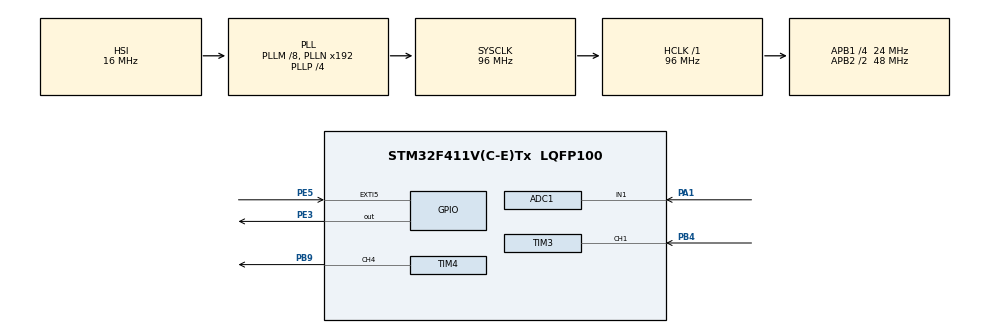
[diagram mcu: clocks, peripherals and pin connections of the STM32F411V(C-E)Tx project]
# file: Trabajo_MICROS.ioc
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ADC1.Channel-1\#ChannelRegularConversion=ADC_CHANNEL_1
ADC1.ContinuousConvMode=DISABLE
ADC1.DMAContinuousRequests=ENABLE
ADC1.InjNumberOfConversion=0
ADC1.NbrOfConversion=1
ADC1.NbrOfConversionFlag=1
ADC1.Rank-1\#ChannelRegularConversion=1
ADC1.Resolution=ADC_RESOLUTION_8B
ADC1.SamplingTime-1\#ChannelRegularConversion=ADC_SAMPLETIME_480CYCLES
ADC1.ScanConvMode=DISABLE
ADC1.master=1
Dma.ADC1.0.Direction=DMA_PERIPH_TO_MEMORY
Dma.ADC1.0.FIFOMode=DMA_FIFOMODE_DISABLE
Dma.ADC1.0.Instance=DMA2_Stream0
Dma.ADC1.0.MemDataAlignment=DMA_MDATAALIGN_WORD
Dma.ADC1.0.MemInc=DMA_MINC_ENABLE
Dma.ADC1.0.Mode=DMA_CIRCULAR
Dma.ADC1.0.PeriphDataAlignment=DMA_PDATAALIGN_WORD
Dma.ADC1.0.PeriphInc=DMA_PINC_DISABLE
Dma.ADC1.0.Priority=DMA_PRIORITY_LOW
Dma.Request0=ADC1
Mcu.Family=STM32F4
Mcu.Name=STM32F411V(C-E)Tx
Mcu.Package=LQFP100
NVIC.ADC_IRQn=true\:0\:0\:false\:false\:true\:true\:true\:true
NVIC.DMA2_Stream0_IRQn=true\:0\:0\:false\:false\:true\:false\:true\:true
NVIC.EXTI9_5_IRQn=true\:0\:0\:false\:false\:true\:true\:true\:true
NVIC.PriorityGroup=NVIC_PRIORITYGROUP_0
NVIC.TIM1_UP_TIM10_IRQn=true\:0\:0\:false\:false\:true\:true\:true\:true
NVIC.TIM3_IRQn=true\:0\:0\:false\:false\:true\:true\:true\:true
NVIC.TIM4_IRQn=true\:0\:0\:false\:false\:true\:true\:true\:true
PA1.Signal=ADCx_IN1
PB4.Signal=S_TIM3_CH1
PB9.Signal=S_TIM4_CH4
PE3.Signal=GPIO_Output
PE5.GPIO_ModeDefaultEXTI=GPIO_MODE_IT_RISING_FALLING
PE5.Signal=GPXTI5
ProjectManager.HeapSize=0x200
ProjectManager.StackSize=0x400
ProjectManager.TargetToolchain=STM32CubeIDE
RCC.48MHZClocksFreq_Value=48000000
RCC.AHBFreq_Value=96000000
RCC.APB1CLKDivider=RCC_HCLK_DIV4
RCC.APB1Freq_Value=24000000
RCC.APB1TimFreq_Value=48000000
RCC.APB2CLKDivider=RCC_HCLK_DIV2
RCC.APB2Freq_Value=48000000
RCC.APB2TimFreq_Value=96000000
RCC.CortexFreq_Value=96000000
RCC.HCLKFreq_Value=96000000
RCC.HSE_VALUE=8000000
RCC.HSI_VALUE=16000000
RCC.LSE_VALUE=32768
RCC.PLLI2SM=5
RCC.PLLI2SN=200
RCC.PLLM=8
RCC.PLLP=RCC_PLLP_DIV4
RCC.PLLQ=8
RCC.SYSCLKFreq_VALUE=96000000
RCC.SYSCLKSource=RCC_SYSCLKSOURCE_PLLCLK
RCC.VCOOutputFreq_Value=384000000
SH.ADCx_IN1.0=ADC1_IN1,IN1
SH.S_TIM3_CH1.0=TIM3_CH1,Input_Capture1_from_TI1
SH.S_TIM4_CH4.0=TIM4_CH4,PWM Generation4 CH4
TIM10.Period=9999
TIM10.Prescaler=49999
TIM3.Channel-Input_Capture1_from_TI1=TIM_CHANNEL_1
TIM3.ICPolarity_CH1=TIM_INPUTCHANNELPOLARITY_RISING
TIM3.Period=999
TIM3.Prescaler=49
TIM4.Channel-PWM\ Generation4\ CH4=TIM_CHANNEL_4
TIM4.Period=999
TIM4.Prescaler=49
VP_TIM10_VS_ClockSourceINT.Mode=Enable_Timer
VP_TIM3_VS_ClockSourceINT.Mode=Internal
board=STM32F411E-DISCO

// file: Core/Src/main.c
/* USER CODE BEGIN Header */
/**
  ******************************************************************************
  * @file           : main.c
  * @brief          : Main program body
  ******************************************************************************
  * @attention
  *
  * Copyright (c) 2022 STMicroelectronics.
  * All rights reserved.
  *
  * This software is licensed under terms that can be found in the LICENSE file
  * in the root directory of this software component.
  * If no LICENSE file comes with this software, it is provided AS-IS.
  *
  ******************************************************************************
  */
/* USER CODE END Header */
#include "main.h"

ADC_HandleTypeDef hadc1;
DMA_HandleTypeDef hdma_adc1;

TIM_HandleTypeDef htim3;
TIM_HandleTypeDef htim4;
TIM_HandleTypeDef htim10;

/* USER CODE BEGIN PV */
uint32_t IC_valor_1 = 0; // valor del contador en el flanco de subida
uint32_t IC_valor_2 = 0; // valor del contador en el flanco de bajada
uint32_t distancia = 0; // distancia detectada por el ultrasonido
uint32_t luminosidad = 0; // luminosidad detectada por la LDR

int interruptor = 0; // para controlar el estado del interruptor
int sensor_luz = 0; // la luz solo puede encenderse por presencia cuando haya poca luz ambiente
int presencia_detectada = 0; // la luz se ha encendido por presencia
/* USER CODE END PV */

void SystemClock_Config(void);
static void MX_GPIO_Init(void);
static void MX_DMA_Init(void);
static void MX_TIM10_Init(void);
static void MX_TIM4_Init(void);
static void MX_TIM3_Init(void);
static void MX_ADC1_Init(void);

/* USER CODE BEGIN 0 */
void HAL_GPIO_EXTI_Callback(uint16_t GPIO_Pin){
	if(GPIO_Pin == GPIO_PIN_5){
		if(interruptor == 0){
			interruptor = 1;
			sensor_luz = 0; // forzamos que la luz no se pueda encender por presencia
			HAL_ADC_Stop_DMA(&hadc1); // paramos la medida de la luminosidad
			HAL_TIM_IC_Stop_IT(&htim3, TIM_CHANNEL_1); // paramos la medida de la presencia
		}
		else{
			interruptor = 0;
			HAL_ADC_Start_DMA(&hadc1, &luminosidad, 1); // arrancamos la medida de la luminosidad
			HAL_TIM_IC_Start_IT(&htim3, TIM_CHANNEL_1); // arrancamos la medida de la presencia
		}
	}
}

void HAL_TIM_IC_CaptureCallback(TIM_HandleTypeDef *htim){
	if(htim->Instance == TIM3){
		if (IC_valor_1 == 0){ // si todavia no se ha producido el flanco de subida
			IC_valor_1 = HAL_TIM_ReadCapturedValue(&htim3, TIM_CHANNEL_1);
			// Cambiamos la sensibilidad de la interrupción al flanco de bajada
			__HAL_TIM_SET_CAPTUREPOLARITY(&htim3, TIM_CHANNEL_1, TIM_INPUTCHANNELPOLARITY_FALLING);
		}
		else if (IC_valor_1 != 0){ // si ya se ha producido el flanco de subida
			IC_valor_2 = HAL_TIM_ReadCapturedValue(&htim3, TIM_CHANNEL_1);

			__HAL_TIM_SET_COUNTER(htim, 0);
			if (IC_valor_2 > IC_valor_1){
				distancia = IC_valor_2 - IC_valor_1;
			}
			else if (IC_valor_1 > IC_valor_2){
				distancia = (0xffff - IC_valor_1) + IC_valor_2;
			}
			if(distancia < 500){ // presencia detectada
				presencia_detectada = 1;
				HAL_TIM_Base_Start_IT(&htim10); // iniciamos el temporizador de 5 segundos
			}
			IC_valor_1 = 0;
			// Cambiamos la sensibilidad de la interrupción al flanco de subida
			__HAL_TIM_SET_CAPTUREPOLARITY(&htim3, TIM_CHANNEL_1, TIM_INPUTCHANNELPOLARITY_RISING);
		}
	}
}

void HAL_TIM_PeriodElapsedCallback(TIM_HandleTypeDef *htim){
	if(htim->Instance == TIM10){
		presencia_detectada = 0;
		HAL_TIM_Base_Stop_IT(&htim10);
	}
}

void HAL_ADC_ConvCpltCallback(ADC_HandleTypeDef *hadc){
	if(hadc->Instance == ADC1){
		// Como el DMA lo hace por nosotros, no hace falta coger el valor devuelto por el convertidor
		if(luminosidad < 50 && sensor_luz == 0){
			sensor_luz = 1; // si no hay luz ambiente, podemos encender el LED
			presencia_detectada = 0;
		}
		else if(luminosidad > 50 && sensor_luz == 1){
			sensor_luz = 0; // si hay luz ambiente, no podemos encender el LED
			presencia_detectada = 0;
		}
		HAL_ADC_Start_DMA(&hadc1, &luminosidad, 1); // arrancamos de nuevo el convertidor
	}
}
/* USER CODE END 0 */

int main(void)
{

  /* MCU Configuration--------------------------------------------------------*/

  /* Reset of all peripherals, Initializes the Flash interface and the Systick. */
  HAL_Init();

  /* Configure the system clock */
  SystemClock_Config();

  /* Initialize all configured peripherals */
  MX_GPIO_Init();
  MX_DMA_Init();
  MX_TIM10_Init();
  MX_TIM4_Init();
  MX_TIM3_Init();
  MX_ADC1_Init();
  /* USER CODE BEGIN 2 */
  HAL_TIM_IC_Start_IT(&htim3, TIM_CHANNEL_1);
  HAL_TIM_PWM_Start(&htim4, TIM_CHANNEL_4);
  __HAL_TIM_SET_COMPARE(&htim4, TIM_CHANNEL_4, 10);
  HAL_ADC_Start_DMA(&hadc1, &luminosidad, 1);
  /* USER CODE END 2 */

  /* Infinite loop */
  while (1)
  {

    /* USER CODE BEGIN 3 */
	  // si el interruptor está abierto, encendemos el LED
	  if(interruptor == 1)
		  HAL_GPIO_WritePin(GPIOE, GPIO_PIN_3, GPIO_PIN_SET);
	  // si el interruptor está cerrado, no hay luz ambiente y detectamos presencia, encendemos el LED
	  else if(interruptor == 0 && sensor_luz == 1 && presencia_detectada == 1)
		  HAL_GPIO_WritePin(GPIOE, GPIO_PIN_3, GPIO_PIN_SET);
	  // en cualquier otro caso, apagamos el LED
	  else
		  HAL_GPIO_WritePin(GPIOE, GPIO_PIN_3, GPIO_PIN_RESET);
  }
  /* USER CODE END 3 */
}

void SystemClock_Config(void)
{
  RCC_OscInitTypeDef RCC_OscInitStruct = {0};
  RCC_ClkInitTypeDef RCC_ClkInitStruct = {0};

  /** Configure the main internal regulator output voltage
  */
  __HAL_RCC_PWR_CLK_ENABLE();
  __HAL_PWR_VOLTAGESCALING_CONFIG(PWR_REGULATOR_VOLTAGE_SCALE1);

  /** Initializes the RCC Oscillators according to the specified parameters
  * in the RCC_OscInitTypeDef structure.
  */
  RCC_OscInitStruct.OscillatorType = RCC_OSCILLATORTYPE_HSI;
  RCC_OscInitStruct.HSIState = RCC_HSI_ON;
  RCC_OscInitStruct.HSICalibrationValue = RCC_HSICALIBRATION_DEFAULT;
  RCC_OscInitStruct.PLL.PLLState = RCC_PLL_ON;
  RCC_OscInitStruct.PLL.PLLSource = RCC_PLLSOURCE_HSI;
  RCC_OscInitStruct.PLL.PLLM = 8;
  RCC_OscInitStruct.PLL.PLLN = 192;
  RCC_OscInitStruct.PLL.PLLP = RCC_PLLP_DIV4;
  RCC_OscInitStruct.PLL.PLLQ = 8;
  if (HAL_RCC_OscConfig(&RCC_OscInitStruct) != HAL_OK)
  {
    Error_Handler();
  }

  /** Initializes the CPU, AHB and APB buses clocks
  */
  RCC_ClkInitStruct.ClockType = RCC_CLOCKTYPE_HCLK|RCC_CLOCKTYPE_SYSCLK
                              |RCC_CLOCKTYPE_PCLK1|RCC_CLOCKTYPE_PCLK2;
  RCC_ClkInitStruct.SYSCLKSource = RCC_SYSCLKSOURCE_PLLCLK;
  RCC_ClkInitStruct.AHBCLKDivider = RCC_SYSCLK_DIV1;
  RCC_ClkInitStruct.APB1CLKDivider = RCC_HCLK_DIV4;
  RCC_ClkInitStruct.APB2CLKDivider = RCC_HCLK_DIV2;

  if (HAL_RCC_ClockConfig(&RCC_ClkInitStruct, FLASH_LATENCY_3) != HAL_OK)
  {
    Error_Handler();
  }
}

static void MX_ADC1_Init(void)
{

  ADC_ChannelConfTypeDef sConfig = {0};

  /** Configure the global features of the ADC (Clock, Resolution, Data Alignment and number of conversion)
  */
  hadc1.Instance = ADC1;
  hadc1.Init.ClockPrescaler = ADC_CLOCK_SYNC_PCLK_DIV2;
  hadc1.Init.Resolution = ADC_RESOLUTION_8B;
  hadc1.Init.ScanConvMode = DISABLE;
  hadc1.Init.ContinuousConvMode = DISABLE;
  hadc1.Init.DiscontinuousConvMode = DISABLE;
  hadc1.Init.ExternalTrigConvEdge = ADC_EXTERNALTRIGCONVEDGE_NONE;
  hadc1.Init.ExternalTrigConv = ADC_SOFTWARE_START;
  hadc1.Init.DataAlign = ADC_DATAALIGN_RIGHT;
  hadc1.Init.NbrOfConversion = 1;
  hadc1.Init.DMAContinuousRequests = ENABLE;
  hadc1.Init.EOCSelection = ADC_EOC_SINGLE_CONV;
  if (HAL_ADC_Init(&hadc1) != HAL_OK)
  {
    Error_Handler();
  }

  /** Configure for the selected ADC regular channel its corresponding rank in the sequencer and its sample time.
  */
  sConfig.Channel = ADC_CHANNEL_1;
  sConfig.Rank = 1;
  sConfig.SamplingTime = ADC_SAMPLETIME_480CYCLES;
  if (HAL_ADC_ConfigChannel(&hadc1, &sConfig) != HAL_OK)
  {
    Error_Handler();
  }

}

static void MX_TIM3_Init(void)
{

  TIM_ClockConfigTypeDef sClockSourceConfig = {0};
  TIM_MasterConfigTypeDef sMasterConfig = {0};
  TIM_IC_InitTypeDef sConfigIC = {0};

  htim3.Instance = TIM3;
  htim3.Init.Prescaler = 49;
  htim3.Init.CounterMode = TIM_COUNTERMODE_UP;
  htim3.Init.Period = 999;
  htim3.Init.ClockDivision = TIM_CLOCKDIVISION_DIV1;
  htim3.Init.AutoReloadPreload = TIM_AUTORELOAD_PRELOAD_DISABLE;
  if (HAL_TIM_Base_Init(&htim3) != HAL_OK)
  {
    Error_Handler();
  }
  sClockSourceConfig.ClockSource = TIM_CLOCKSOURCE_INTERNAL;
  if (HAL_TIM_ConfigClockSource(&htim3, &sClockSourceConfig) != HAL_OK)
  {
    Error_Handler();
  }
  if (HAL_TIM_IC_Init(&htim3) != HAL_OK)
  {
    Error_Handler();
  }
  sMasterConfig.MasterOutputTrigger = TIM_TRGO_RESET;
  sMasterConfig.MasterSlaveMode = TIM_MASTERSLAVEMODE_DISABLE;
  if (HAL_TIMEx_MasterConfigSynchronization(&htim3, &sMasterConfig) != HAL_OK)
  {
    Error_Handler();
  }
  sConfigIC.ICPolarity = TIM_INPUTCHANNELPOLARITY_RISING;
  sConfigIC.ICSelection = TIM_ICSELECTION_DIRECTTI;
  sConfigIC.ICPrescaler = TIM_ICPSC_DIV1;
  sConfigIC.ICFilter = 0;
  if (HAL_TIM_IC_ConfigChannel(&htim3, &sConfigIC, TIM_CHANNEL_1) != HAL_OK)
  {
    Error_Handler();
  }

}

static void MX_TIM4_Init(void)
{

  TIM_MasterConfigTypeDef sMasterConfig = {0};
  TIM_OC_InitTypeDef sConfigOC = {0};

  htim4.Instance = TIM4;
  htim4.Init.Prescaler = 49;
  htim4.Init.CounterMode = TIM_COUNTERMODE_UP;
  htim4.Init.Period = 999;
  htim4.Init.ClockDivision = TIM_CLOCKDIVISION_DIV1;
  htim4.Init.AutoReloadPreload = TIM_AUTORELOAD_PRELOAD_DISABLE;
  if (HAL_TIM_PWM_Init(&htim4) != HAL_OK)
  {
    Error_Handler();
  }
  sMasterConfig.MasterOutputTrigger = TIM_TRGO_RESET;
  sMasterConfig.MasterSlaveMode = TIM_MASTERSLAVEMODE_DISABLE;
  if (HAL_TIMEx_MasterConfigSynchronization(&htim4, &sMasterConfig) != HAL_OK)
  {
    Error_Handler();
  }
  sConfigOC.OCMode = TIM_OCMODE_PWM1;
  sConfigOC.Pulse = 0;
  sConfigOC.OCPolarity = TIM_OCPOLARITY_HIGH;
  sConfigOC.OCFastMode = TIM_OCFAST_DISABLE;
  if (HAL_TIM_PWM_ConfigChannel(&htim4, &sConfigOC, TIM_CHANNEL_4) != HAL_OK)
  {
    Error_Handler();
  }
  HAL_TIM_MspPostInit(&htim4);

}

static void MX_TIM10_Init(void)
{

  htim10.Instance = TIM10;
  htim10.Init.Prescaler = 49999;
  htim10.Init.CounterMode = TIM_COUNTERMODE_UP;
  htim10.Init.Period = 9999;
  htim10.Init.ClockDivision = TIM_CLOCKDIVISION_DIV1;
  htim10.Init.AutoReloadPreload = TIM_AUTORELOAD_PRELOAD_DISABLE;
  if (HAL_TIM_Base_Init(&htim10) != HAL_OK)
  {
    Error_Handler();
  }

}

static void MX_DMA_Init(void)
{

  /* DMA controller clock enable */
  __HAL_RCC_DMA2_CLK_ENABLE();

  /* DMA interrupt init */
  /* DMA2_Stream0_IRQn interrupt configuration */
  HAL_NVIC_SetPriority(DMA2_Stream0_IRQn, 0, 0);
  HAL_NVIC_EnableIRQ(DMA2_Stream0_IRQn);

}

static void MX_GPIO_Init(void)
{
  GPIO_InitTypeDef GPIO_InitStruct = {0};

  /* GPIO Ports Clock Enable */
  __HAL_RCC_GPIOE_CLK_ENABLE();
  __HAL_RCC_GPIOA_CLK_ENABLE();
  __HAL_RCC_GPIOB_CLK_ENABLE();

  /*Configure GPIO pin Output Level */
  HAL_GPIO_WritePin(GPIOE, GPIO_PIN_3, GPIO_PIN_RESET);

  /*Configure GPIO pin : PE3 */
  GPIO_InitStruct.Pin = GPIO_PIN_3;
  GPIO_InitStruct.Mode = GPIO_MODE_OUTPUT_PP;
  GPIO_InitStruct.Pull = GPIO_NOPULL;
  GPIO_InitStruct.Speed = GPIO_SPEED_FREQ_LOW;
  HAL_GPIO_Init(GPIOE, &GPIO_InitStruct);

  /*Configure GPIO pin : PE5 */
  GPIO_InitStruct.Pin = GPIO_PIN_5;
  GPIO_InitStruct.Mode = GPIO_MODE_IT_RISING_FALLING;
  GPIO_InitStruct.Pull = GPIO_NOPULL;
  HAL_GPIO_Init(GPIOE, &GPIO_InitStruct);

  /* EXTI interrupt init*/
  HAL_NVIC_SetPriority(EXTI9_5_IRQn, 0, 0);
  HAL_NVIC_EnableIRQ(EXTI9_5_IRQn);

}

void Error_Handler(void)
{
  __disable_irq();
  while (1)
  {
  }
}
